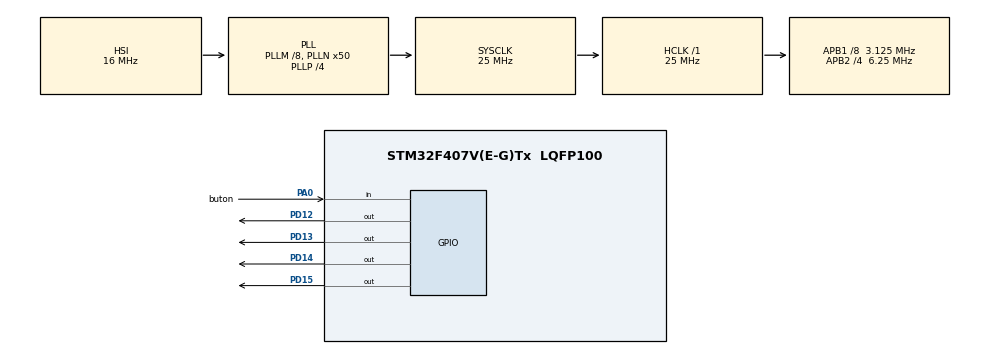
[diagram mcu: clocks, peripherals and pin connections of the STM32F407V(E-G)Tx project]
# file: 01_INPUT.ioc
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Mcu.Family=STM32F4
Mcu.Name=STM32F407V(E-G)Tx
Mcu.Package=LQFP100
NVIC.PriorityGroup=NVIC_PRIORITYGROUP_0
PA0-WKUP.GPIO_Label=buton
PA0-WKUP.GPIO_PuPd=GPIO_PULLDOWN
PA0-WKUP.Signal=GPIO_Input
PD12.GPIO_PuPd=GPIO_NOPULL
PD12.GPIO_Speed=GPIO_SPEED_FREQ_MEDIUM
PD12.Signal=GPIO_Output
PD13.Signal=GPIO_Output
PD14.Signal=GPIO_Output
PD15.Signal=GPIO_Output
ProjectManager.HeapSize=0x200
ProjectManager.StackSize=0x400
ProjectManager.TargetToolchain=STM32CubeIDE
RCC.48MHZClocksFreq_Value=14285714.285714285
RCC.AHBFreq_Value=25000000
RCC.APB1CLKDivider=RCC_HCLK_DIV8
RCC.APB1Freq_Value=3125000
RCC.APB1TimFreq_Value=6250000
RCC.APB2CLKDivider=RCC_HCLK_DIV4
RCC.APB2Freq_Value=6250000
RCC.APB2TimFreq_Value=12500000
RCC.CortexFreq_Value=25000000
RCC.HCLKFreq_Value=25000000
RCC.HSE_VALUE=8000000
RCC.HSI_VALUE=16000000
RCC.PLLM=8
RCC.PLLN=50
RCC.PLLP=RCC_PLLP_DIV4
RCC.PLLQ=7
RCC.SYSCLKFreq_VALUE=25000000
RCC.SYSCLKSource=RCC_SYSCLKSOURCE_PLLCLK
RCC.VCOOutputFreq_Value=100000000
board=STM32F407G-DISC1

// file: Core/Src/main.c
/* USER CODE BEGIN Header */
/**
  ******************************************************************************
  * @file           : main.c
  * @brief          : Main program body
  ******************************************************************************
  * @attention
  *
  * Copyright (c) 2026 STMicroelectronics.
  * All rights reserved.
  *
  * This software is licensed under terms that can be found in the LICENSE file
  * in the root directory of this software component.
  * If no LICENSE file comes with this software, it is provided AS-IS.
  *
  ******************************************************************************
  */
/* USER CODE END Header */
#include "main.h"

/* USER CODE BEGIN Includes */

#include "stdio.h"

/* USER CODE END Includes */

/* USER CODE BEGIN PV */

uint8_t buttonState;
uint16_t buttonCounter = 0;

/* USER CODE END PV */

void SystemClock_Config(void);
static void MX_GPIO_Init(void);

int main(void)
{

  /* MCU Configuration--------------------------------------------------------*/

  /* Reset of all peripherals, Initializes the Flash interface and the Systick. */
  HAL_Init();

  /* Configure the system clock */
  SystemClock_Config();

  /* Initialize all configured peripherals */
  MX_GPIO_Init();

  /* Infinite loop */
  while (1)
  {

    /* USER CODE BEGIN 3 */

	  buttonState = HAL_GPIO_ReadPin(buton_GPIO_Port, buton_Pin);

	  HAL_Delay(120);

	  if (buttonState == 1){
		  buttonCounter ++;
	  }

	  if (buttonCounter%4==0){
		  HAL_GPIO_WritePin(GPIOD, GPIO_PIN_12, 1);
		  HAL_GPIO_WritePin(GPIOD, GPIO_PIN_13, 0);
		  HAL_GPIO_WritePin(GPIOD, GPIO_PIN_14, 0);
		  HAL_GPIO_WritePin(GPIOD, GPIO_PIN_15, 0);
	  	  }
	  else if (buttonCounter%4==1){
		  HAL_GPIO_WritePin(GPIOD, GPIO_PIN_12, 0);
		  HAL_GPIO_WritePin(GPIOD, GPIO_PIN_13, 1);
		  HAL_GPIO_WritePin(GPIOD, GPIO_PIN_14, 0);
		  HAL_GPIO_WritePin(GPIOD, GPIO_PIN_15, 0);
	  	  	  }
	  else if (buttonCounter%4==2){
		  HAL_GPIO_WritePin(GPIOD, GPIO_PIN_12, 0);
		  HAL_GPIO_WritePin(GPIOD, GPIO_PIN_13, 0);
		  HAL_GPIO_WritePin(GPIOD, GPIO_PIN_14, 1);
		  HAL_GPIO_WritePin(GPIOD, GPIO_PIN_15, 0);
	 	  	  	  }
	  else if (buttonCounter%4==3){
		  HAL_GPIO_WritePin(GPIOD, GPIO_PIN_12, 0);
		  HAL_GPIO_WritePin(GPIOD, GPIO_PIN_13, 0);
		  HAL_GPIO_WritePin(GPIOD, GPIO_PIN_14, 0);
		  HAL_GPIO_WritePin(GPIOD, GPIO_PIN_15, 1);
	  }
	 	  	  else{
	 	  HAL_GPIO_WritePin(GPIOD, GPIO_PIN_12, 0);
	 	  HAL_GPIO_WritePin(GPIOD, GPIO_PIN_13, 0);
	 	  HAL_GPIO_WritePin(GPIOD, GPIO_PIN_14, 0);
	 	  HAL_GPIO_WritePin(GPIOD, GPIO_PIN_15, 0);
	 	  	  }

  }
  /* USER CODE END 3 */
}

void SystemClock_Config(void)
{
  RCC_OscInitTypeDef RCC_OscInitStruct = {0};
  RCC_ClkInitTypeDef RCC_ClkInitStruct = {0};

  /** Configure the main internal regulator output voltage
  *
  __HAL_RCC_PWR_CLK_ENABLE();
  __HAL_PWR_VOLTAGESCALING_CONFIG(PWR_REGULATOR_VOLTAGE_SCALE1);

  /** Initializes the RCC Oscillators according to the specified parameters
  * in the RCC_OscInitTypeDef structure.
  */
  RCC_OscInitStruct.OscillatorType = RCC_OSCILLATORTYPE_HSI;
  RCC_OscInitStruct.HSIState = RCC_HSI_ON;
  RCC_OscInitStruct.HSICalibrationValue = RCC_HSICALIBRATION_DEFAULT;
  RCC_OscInitStruct.PLL.PLLState = RCC_PLL_ON;
  RCC_OscInitStruct.PLL.PLLSource = RCC_PLLSOURCE_HSI;
  RCC_OscInitStruct.PLL.PLLM = 8;
  RCC_OscInitStruct.PLL.PLLN = 50;
  RCC_OscInitStruct.PLL.PLLP = RCC_PLLP_DIV4;
  RCC_OscInitStruct.PLL.PLLQ = 7;
  if (HAL_RCC_OscConfig(&RCC_OscInitStruct) != HAL_OK)
  {
    Error_Handler();
  }

  /** Initializes the CPU, AHB and APB buses clocks
  */
  RCC_ClkInitStruct.ClockType = RCC_CLOCKTYPE_HCLK|RCC_CLOCKTYPE_SYSCLK
                              |RCC_CLOCKTYPE_PCLK1|RCC_CLOCKTYPE_PCLK2;
  RCC_ClkInitStruct.SYSCLKSource = RCC_SYSCLKSOURCE_PLLCLK;
  RCC_ClkInitStruct.AHBCLKDivider = RCC_SYSCLK_DIV1;
  RCC_ClkInitStruct.APB1CLKDivider = RCC_HCLK_DIV8;
  RCC_ClkInitStruct.APB2CLKDivider = RCC_HCLK_DIV4;

  if (HAL_RCC_ClockConfig(&RCC_ClkInitStruct, FLASH_LATENCY_0) != HAL_OK)
  {
    Error_Handler();
  }
}

static void MX_GPIO_Init(void)
{
  GPIO_InitTypeDef GPIO_InitStruct = {0};

  /* GPIO Ports Clock Enable */
  __HAL_RCC_GPIOA_CLK_ENABLE();
  __HAL_RCC_GPIOD_CLK_ENABLE();

  /*Configure GPIO pin Output Level */
  HAL_GPIO_WritePin(GPIOD, GPIO_PIN_12|GPIO_PIN_13|GPIO_PIN_14|GPIO_PIN_15, GPIO_PIN_RESET);

  /*Configure GPIO pin : buton_Pin */
  GPIO_InitStruct.Pin = buton_Pin;
  GPIO_InitStruct.Mode = GPIO_MODE_INPUT;
  GPIO_InitStruct.Pull = GPIO_PULLDOWN;
  HAL_GPIO_Init(buton_GPIO_Port, &GPIO_InitStruct);

  /*Configure GPIO pin : PD12 */
  GPIO_InitStruct.Pin = GPIO_PIN_12;
  GPIO_InitStruct.Mode = GPIO_MODE_OUTPUT_PP;
  GPIO_InitStruct.Pull = GPIO_NOPULL;
  GPIO_InitStruct.Speed = GPIO_SPEED_FREQ_MEDIUM;
  HAL_GPIO_Init(GPIOD, &GPIO_InitStruct);

  /*Configure GPIO pins : PD13 PD14 PD15 */
  GPIO_InitStruct.Pin = GPIO_PIN_13|GPIO_PIN_14|GPIO_PIN_15;
  GPIO_InitStruct.Mode = GPIO_MODE_OUTPUT_PP;
  GPIO_InitStruct.Pull = GPIO_NOPULL;
  GPIO_InitStruct.Speed = GPIO_SPEED_FREQ_LOW;
  HAL_GPIO_Init(GPIOD, &GPIO_InitStruct);

}

void Error_Handler(void)
{
  __disable_irq();
  while (1)
  {
  }
}
